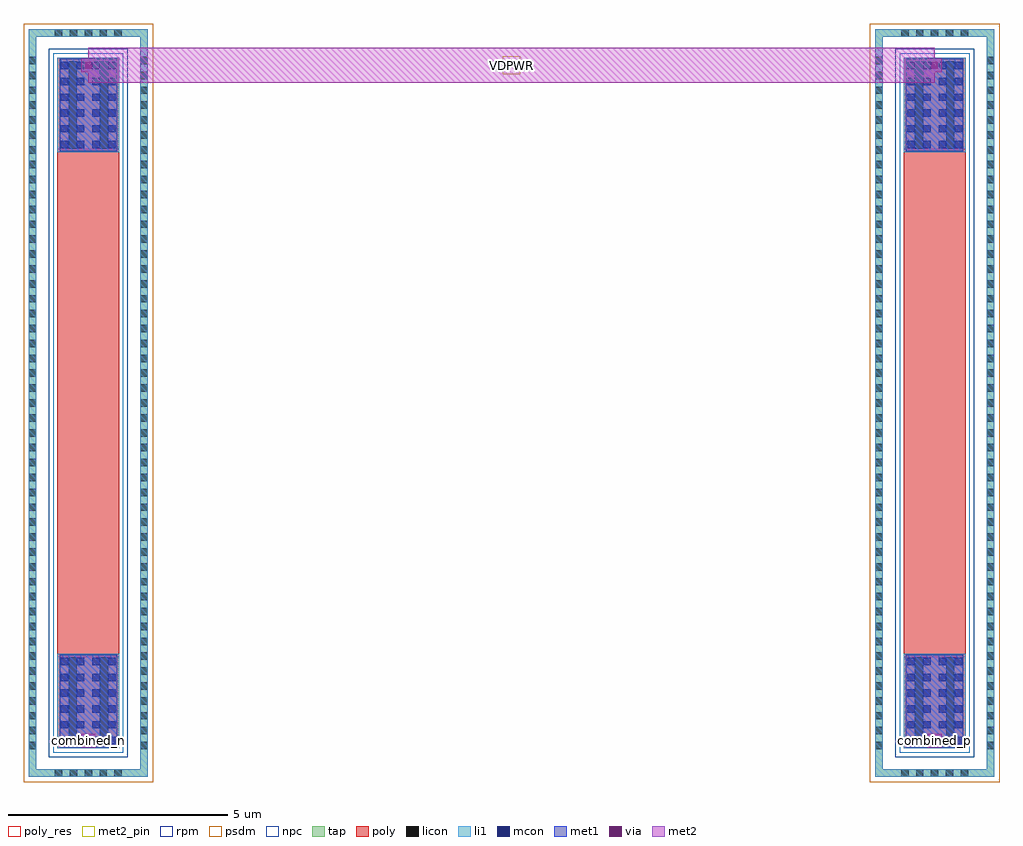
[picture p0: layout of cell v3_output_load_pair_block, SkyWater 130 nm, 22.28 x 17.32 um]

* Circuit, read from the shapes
.subckt v3_output_load_pair_block VDPWR combined_n combined_p
XR1 VDPWR combined_n VSUBS sky130_fd_pr__res_high_po w=1.41 l=11.49
XR2 VDPWR combined_p VSUBS sky130_fd_pr__res_high_po w=1.41 l=11.49
.ends

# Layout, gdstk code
import gdstk
lib = gdstk.Library(unit=1e-6, precision=1e-09)
def R(c, l, rs):  # rectangles x0, y0, x1, y1
    for r in rs: c.add(gdstk.rectangle(r[:2], r[2:], *l))
def A(c, l, x, y, w, h, nx, ny, dx, dy):  # array of equal rectangles
    R(c, l, [(x+i*dx, y+j*dy, x+i*dx+w, y+j*dy+h) for i in range(nx) for j in range(ny)])
tap = (65, 44)
poly_res = (66, 13)
poly = (66, 20)
licon = (66, 44)
li1 = (67, 20)
mcon = (67, 44)
met1 = (68, 20)
via = (68, 44)
met2_pin = (69, 16)
met2 = (69, 20)
rpm = (86, 20)
psdm = (94, 20)
npc = (95, 20)

v3_output_load_pair_bloc = lib.new_cell('v3_output_load_pair_block')
R(v3_output_load_pair_bloc, tap, [(54.305,114.465,57.015,114.635), (73.625,114.465,76.335,114.635), (54.305,114.635,54.475,131.365), (56.845,114.635,57.015,131.365), (73.625,114.635,73.795,131.365), (76.165,114.635,76.335,131.365), (54.305,131.365,57.015,131.535), (73.625,131.365,76.335,131.535)])
R(v3_output_load_pair_bloc, poly_res, [(54.955,117.195,56.365,128.805), (74.275,117.195,75.685,128.805)])
R(v3_output_load_pair_bloc, poly, [(54.955,115.115,56.365,130.885), (74.275,115.115,75.685,130.885)])
A(v3_output_load_pair_bloc, licon, 54.895, 114.465, 0.17, 0.17, 5, 2, 0.34, 16.9)
A(v3_output_load_pair_bloc, licon, 74.215, 114.465, 0.17, 0.17, 5, 2, 0.34, 16.9)
A(v3_output_load_pair_bloc, licon, 54.305, 115.095, 0.17, 0.17, 1, 47, 0, 0.34)
A(v3_output_load_pair_bloc, licon, 56.845, 115.095, 0.17, 0.17, 1, 47, 0, 0.34)
A(v3_output_load_pair_bloc, licon, 73.625, 115.095, 0.17, 0.17, 1, 47, 0, 0.34)
A(v3_output_load_pair_bloc, licon, 76.165, 115.095, 0.17, 0.17, 1, 47, 0, 0.34)
R(v3_output_load_pair_bloc, licon, [(55.21,115.195,55.4,117.195), (55.92,115.195,56.11,117.195), (74.53,115.195,74.72,117.195), (75.24,115.195,75.43,117.195), (55.21,128.805,55.4,130.805), (55.92,128.805,56.11,130.805), (74.53,128.805,74.72,130.805), (75.24,128.805,75.43,130.805)])
R(v3_output_load_pair_bloc, li1, [(54.305,114.465,57.015,114.635), (73.625,114.465,76.335,114.635), (54.305,114.635,54.475,131.365), (56.845,114.635,57.015,131.365), (73.625,114.635,73.795,131.365), (76.165,114.635,76.335,131.365), (54.955,115.115,56.365,117.275), (74.275,115.115,75.685,117.275), (54.955,128.725,56.365,130.885), (74.275,128.725,75.685,130.885), (54.305,131.365,57.015,131.535), (73.625,131.365,76.335,131.535)])
A(v3_output_load_pair_bloc, mcon, 55.035, 115.21, 0.17, 0.17, 4, 6, 0.36, 0.36)
A(v3_output_load_pair_bloc, mcon, 74.355, 115.21, 0.17, 0.17, 4, 6, 0.36, 0.36)
A(v3_output_load_pair_bloc, mcon, 55.035, 128.815, 0.17, 0.17, 4, 6, 0.36, 0.36)
A(v3_output_load_pair_bloc, mcon, 74.355, 128.815, 0.17, 0.17, 4, 6, 0.36, 0.36)
R(v3_output_load_pair_bloc, met1, [(55.5,115.13,55.82,115.145), (74.82,115.13,75.14,115.145), (55.005,115.145,56.315,117.25), (74.325,115.145,75.635,117.25), (55.005,128.75,56.315,130.855), (74.325,128.75,75.635,130.855), (55.5,130.855,55.82,130.87), (74.82,130.855,75.14,130.87)])
R(v3_output_load_pair_bloc, via, [(55.585,115.215,55.735,115.365), (74.905,115.215,75.055,115.365), (55.585,130.635,55.735,130.785), (74.905,130.635,75.055,130.785)])
R(v3_output_load_pair_bloc, met2_pin, [(55.5,115.13,55.82,115.45), (74.82,115.13,75.14,115.45), (65.12,130.51,65.52,130.91)])
R(v3_output_load_pair_bloc, met2, [(55.5,115.13,55.82,115.45), (74.82,115.13,75.14,115.45), (55.66,130.31,74.98,130.55), (55.5,130.55,75.14,130.87), (55.66,130.87,74.98,131.11)])
R(v3_output_load_pair_bloc, rpm, [(54.755,114.915,56.565,131.085), (74.075,114.915,75.885,131.085)])
R(v3_output_load_pair_bloc, psdm, [(54.18,114.34,57.14,131.66), (73.5,114.34,76.46,131.66)])
R(v3_output_load_pair_bloc, npc, [(54.86,115.02,56.46,130.98), (74.18,115.02,75.78,130.98)])
v3_output_load_pair_bloc.add(gdstk.Label('combined_n', (55.66,115.29), layer=69, texttype=5))
v3_output_load_pair_bloc.add(gdstk.Label('combined_p', (74.98,115.29), layer=69, texttype=5))
v3_output_load_pair_bloc.add(gdstk.Label('VDPWR', (65.32,130.71), layer=69, texttype=5))

lib.write_gds('v3_output_load_pair_block.gds')
